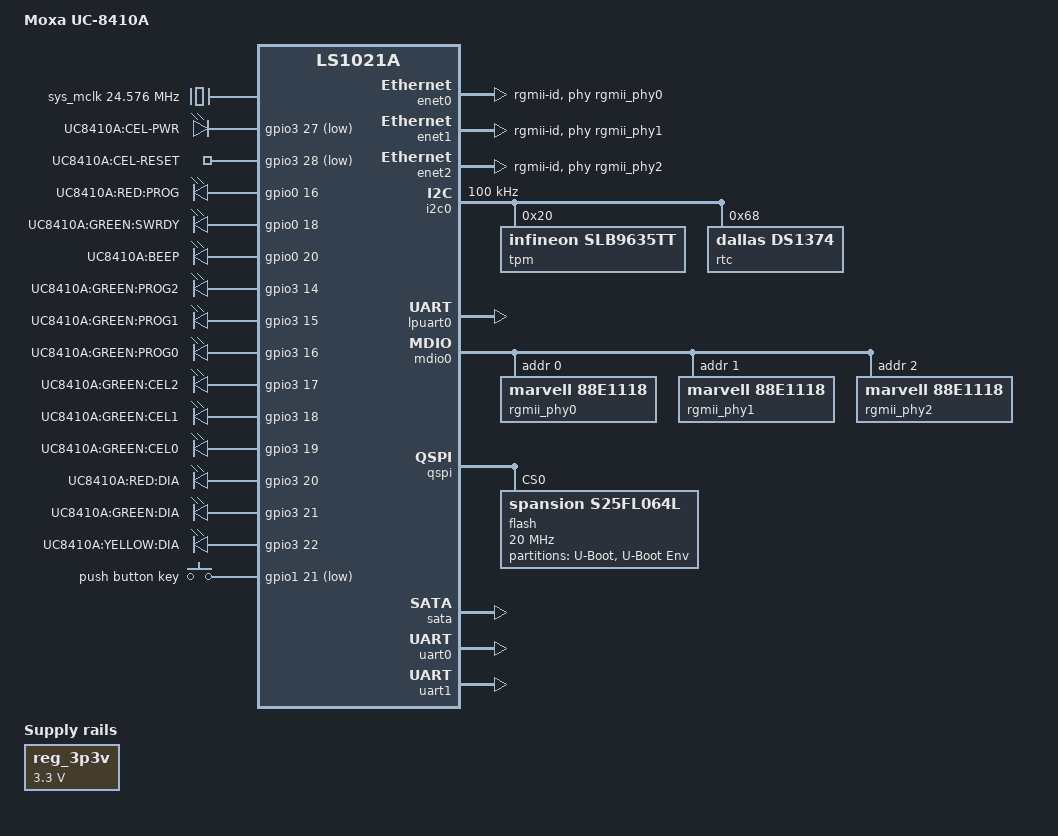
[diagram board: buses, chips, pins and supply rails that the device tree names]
/*
 * Copyright (C) 2017 Moxa Inc. - https://www.moxa.com/
 *
 * Author: Harry YJ Jhou (周亞諄) <harryyj.jhou@moxa.com>
 *         Jimmy Chen (陳永達)    <jimmy.chen@moxa.com>
 *         SZ Lin (林上智)        <sz.lin@moxa.com>
 *
 * This program is free software; you can redistribute it and/or modify
 * it under the terms of the GNU General Public License version 2 as
 * published by the Free Software Foundation.
 */

/dts-v1/;

#include <dt-bindings/gpio/gpio.h>
#include <dt-bindings/input/input.h>
#include "ls1021a.dtsi"

/ {
	model = "Moxa UC-8410A";

	aliases {
		enet0_rgmii_phy = &rgmii_phy0;
		enet1_rgmii_phy = &rgmii_phy1;
		enet2_rgmii_phy = &rgmii_phy2;
	};

	sys_mclk: clock-mclk {
		compatible = "fixed-clock";
		#clock-cells = <0>;
		clock-frequency = <24576000>;
	};

	reg_3p3v: regulator-3p3v {
		  compatible = "regulator-fixed";
		  regulator-name = "3P3V";
		  regulator-min-microvolt = <3300000>;
		  regulator-max-microvolt = <3300000>;
		  regulator-always-on;
	};

	leds {
		compatible = "gpio-leds";

		cel-pwr {
			label = "UC8410A:CEL-PWR";
			gpios = <&gpio3 27 GPIO_ACTIVE_LOW>;
			default-state = "off";
		};

		cel-reset {
			label = "UC8410A:CEL-RESET";
			gpios = <&gpio3 28 GPIO_ACTIVE_LOW>;
			default-state = "off";
		};

		str-led {
			label = "UC8410A:RED:PROG";
			gpios = <&gpio0 16 GPIO_ACTIVE_HIGH>;
			linux,default-trigger = "mmc0";
		};

		sw-ready {
			label = "UC8410A:GREEN:SWRDY";
			gpios = <&gpio0 18 GPIO_ACTIVE_HIGH>;
			default-state = "on";
		};

		beeper {
			label = "UC8410A:BEEP";
			gpios = <&gpio0 20 GPIO_ACTIVE_HIGH>;
			default-state = "off";
		};

		prog-led0 {
			label = "UC8410A:GREEN:PROG2";
			gpios = <&gpio3 14 GPIO_ACTIVE_HIGH>;
			default-state = "off";
		};

		prog-led1 {
			label = "UC8410A:GREEN:PROG1";
			gpios = <&gpio3 15 GPIO_ACTIVE_HIGH>;
			default-state = "off";
		};

		prog-led2 {
			label = "UC8410A:GREEN:PROG0";
			gpios = <&gpio3 16 GPIO_ACTIVE_HIGH>;
			default-state = "off";
		};

		wifi-signal0 {
			label = "UC8410A:GREEN:CEL2";
			gpios = <&gpio3 17 GPIO_ACTIVE_HIGH>;
			default-state = "off";
		};

		wifi-signal1 {
			label = "UC8410A:GREEN:CEL1";
			gpios = <&gpio3 18 GPIO_ACTIVE_HIGH>;
			default-state = "off";
		};

		wifi-signal2 {
			label = "UC8410A:GREEN:CEL0";
			gpios = <&gpio3 19 GPIO_ACTIVE_HIGH>;
			default-state = "off";
		};

		cpu-diag-red {
			label = "UC8410A:RED:DIA";
			gpios = <&gpio3 20 GPIO_ACTIVE_HIGH>;
			default-state = "off";
		};

		cpu-diag-green {
			label = "UC8410A:GREEN:DIA";
			gpios = <&gpio3 21 GPIO_ACTIVE_HIGH>;
			default-state = "off";
		};

		cpu-diag-yellow {
			label = "UC8410A:YELLOW:DIA";
			gpios = <&gpio3 22 GPIO_ACTIVE_HIGH>;
			default-state = "off";
		};
	};

	gpio-keys {
		compatible = "gpio-keys";

		pushbtn-key {
			label = "push button key";
			gpios = <&gpio1 21 GPIO_ACTIVE_LOW>;
			linux,code = <BTN_MISC>;
			default-state = "on";
		};
	};
};

&enet0 {
	phy-handle = <&rgmii_phy0>;
	phy-connection-type = "rgmii-id";
	status = "okay";
};

&enet1 {
	phy-handle = <&rgmii_phy1>;
	phy-connection-type = "rgmii-id";
	status = "okay";
};

&enet2 {
	phy-handle = <&rgmii_phy2>;
	phy-connection-type = "rgmii-id";
	status = "okay";
};

&i2c0 {
	clock-frequency = <100000>;
	status = "okay";

	tpm@20 {
		compatible = "infineon,slb9635tt";
		reg = <0x20>;
	};

	rtc@68 {
		compatible = "dallas,ds1374";
		reg = <0x68>;
	};
};

&lpuart0 {
	status = "okay";
};

&mdio0 {
	rgmii_phy0: ethernet-phy@0 {
		compatible = "marvell,88e1118";
		reg = <0x0>;
		marvell,reg-init =
			<3 0x11 0 0x4415>, /* Reg 3,17 */
			<3 0x10 0 0x77>; /* Reg 3,16 */
	};

	rgmii_phy1: ethernet-phy@1 {
		compatible = "marvell,88e1118";
		reg = <0x1>;
		marvell,reg-init =
			<3 0x11 0 0x4415>, /* Reg 3,17 */
			<3 0x10 0 0x77>; /* Reg 3,16 */
	};

	rgmii_phy2: ethernet-phy@2 {
		compatible = "marvell,88e1118";
		reg = <0x2>;
		marvell,reg-init =
			<3 0x11 0 0x4415>, /* Reg 3,17 */
			<3 0x10 0 0x77>; /* Reg 3,16 */
	};
};

&qspi {
	bus-num = <0>;
	fsl,spi-num-chipselects = <2>;
	fsl,spi-flash-chipselects = <0>;
	fsl,qspi-has-second-chip;
	status = "okay";

	flash: flash@0 {
		compatible = "spansion,s25fl064l", "spansion,s25fl164k";
		#address-cells = <1>;
		#size-cells = <1>;
		spi-max-frequency = <20000000>;
		reg = <0>;

		partitions@0 {
			label = "U-Boot";
			reg = <0x0 0x180000>;
		};

		partitions@180000 {
			label = "U-Boot Env";
			reg = <0x180000 0x680000>;
		};
	};
};

&sata {
	status = "okay";
};

&uart0 {
	status = "okay";
};

&uart1 {
	status = "okay";
};
